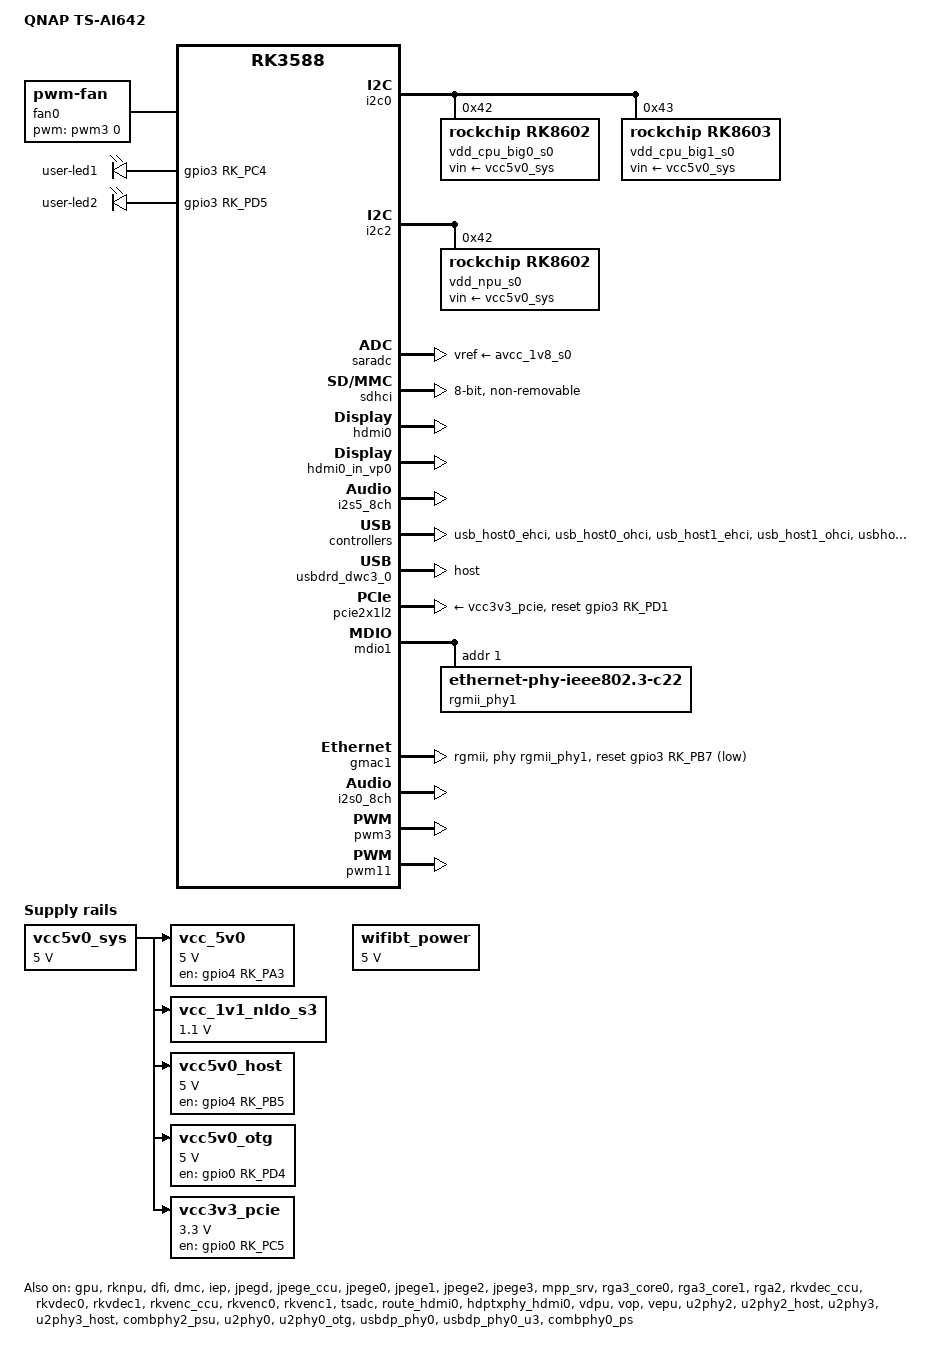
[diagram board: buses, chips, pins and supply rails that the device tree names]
// SPDX-License-Identifier: (GPL-2.0+ OR MIT)
/*
 * Copyright (c) 2022 Rockchip Electronics Co., Ltd.
 * Copyright (c) 2022 Radxa Limited
 *
 */

/dts-v1/;

#include <dt-bindings/gpio/gpio.h>
#include <dt-bindings/leds/common.h>
#include <dt-bindings/pwm/pwm.h>
#include <dt-bindings/pinctrl/rockchip.h>
#include <dt-bindings/input/rk-input.h>
#include <dt-bindings/input/rk-ir.h>
#include <dt-bindings/display/drm_mipi_dsi.h>
#include <dt-bindings/display/rockchip_vop.h>
#include <dt-bindings/sensor-dev.h>
#include "rk3588s.dtsi"
#include "rk3588-rk806-single.dtsi"
//#include "rk3588-linux.dtsi"

/ {
/*
	model = "Radxa ROCK 5C";
	compatible = "radxa,rock-5c", "rockchip,rk3588";
*/	
	model = "QNAP TS-AI642";
	compatible = "rockchip,rk3588-nvr-demo-v10", "rockchip,rk3588";
	

//	/delete-node/ chosen;	
	aliases {
		mmc0 = &sdhci;
		mmc1 = &sdmmc;
	};	
	
        fiq_debugger: fiq-debugger {
                compatible = "rockchip,fiq-debugger";
                rockchip,serial-id = <2>;
                rockchip,wake-irq = <0>;
                /* If enable uart uses irq instead of fiq */
                rockchip,irq-mode-enable = <1>;
                rockchip,baudrate = <115200>;  /* Only 115200 and 1500000 */
                interrupts = <GIC_SPI 423 IRQ_TYPE_LEVEL_LOW>;
                pinctrl-names = "default";
                pinctrl-0 = <&uart2m0_xfer>;
                status = "okay";
        };	

	fan0: pwm-fan {
		compatible = "pwm-fan";
		#cooling-cells = <2>;
		cooling-levels = <0 60 100 160 185 255 255>;
		pwms = <&pwm3 0 10000 0>;
        rockchip,temp-trips = <
                35000   1
                40000   2
                50000   3
                60000   4
                70000   5
                75000   6
        >;		
	};

	vcc5v0_sys: vcc5v0-sys {
		compatible = "regulator-fixed";
		regulator-name = "vcc5v0_sys";
		regulator-always-on;
		regulator-boot-on;
		regulator-min-microvolt = <5000000>;
		regulator-max-microvolt = <5000000>;
	};

	vcc_5v0: vcc-5v0 {
		compatible = "regulator-fixed";
		regulator-name = "vcc_5v0";
		regulator-min-microvolt = <5000000>;
		regulator-max-microvolt = <5000000>;
		regulator-boot-on;
		regulator-always-on;
		enable-active-high;
		gpio = <&gpio4 RK_PA3 GPIO_ACTIVE_HIGH>;
		pinctrl-names = "default";
		pinctrl-0 = <&vcc_5v0_en>;
		vin-supply = <&vcc5v0_sys>;
	};

	wifibt-power {
		compatible = "regulator-fixed";
		regulator-name = "wifibt_power";
		regulator-always-on;
		regulator-boot-on;
		regulator-min-microvolt = <5000000>;
		regulator-max-microvolt = <5000000>;
		pinctrl-names = "default";
		pinctrl-0 = <&wifibt_en>;
	};

	vcc_1v1_nldo_s3: vcc-1v1-nldo-s3 {
		compatible = "regulator-fixed";
		regulator-name = "vcc_1v1_nldo_s3";
		regulator-always-on;
		regulator-boot-on;
		regulator-min-microvolt = <1100000>;
		regulator-max-microvolt = <1100000>;
		vin-supply = <&vcc5v0_sys>;
	};

	hdmi0_sound: hdmi0-sound {
		status = "okay";
		compatible = "rockchip,hdmi";
		rockchip,mclk-fs = <128>;
		rockchip,card-name = "rockchip-hdmi0";
		rockchip,cpu = <&i2s5_8ch>;
		rockchip,codec = <&hdmi0>;
		rockchip,jack-det;
	};
/* qnap关闭
	es8316_sound: es8316-sound {
		status = "okay";
		compatible = "rockchip,multicodecs-card";
		rockchip,card-name = "rockchip-es8316";
		rockchip,format = "i2s";
		rockchip,mclk-fs = <256>;
		rockchip,cpu = <&i2s0_8ch >;
		rockchip,codec = <&es8316>;
		io-channels = <&saradc 3>;
		io-channel-names = "adc-detect";
		keyup-threshold-microvolt = <1800000>;
		play-pause-key {
			label = "playpause";
			linux,code = <164>;
			press-threshold-microvolt = <2000>;
		};
	};
*/
	vcc5v0_host: vcc5v0-host-regulator {
		compatible = "regulator-fixed";
		regulator-name = "vcc5v0_host";
		regulator-boot-on;
		regulator-always-on;
		regulator-min-microvolt = <5000000>;
		regulator-max-microvolt = <5000000>;
		enable-active-high;
		gpio = <&gpio4 RK_PB5 GPIO_ACTIVE_HIGH>;
		pinctrl-names = "default";
		pinctrl-0 = <&vcc5v0_host_en>;
		vin-supply = <&vcc5v0_sys>;
	};

	vcc5v0_otg: vcc5v0-otg-regulator {
		compatible = "regulator-fixed";
		regulator-name = "vcc5v0_otg";
		regulator-min-microvolt = <5000000>;
		regulator-max-microvolt = <5000000>;
		enable-active-high;
		gpio = <&gpio0 RK_PD4 GPIO_ACTIVE_HIGH>;
		pinctrl-names = "default";
		pinctrl-0 = <&vcc5v0_otg_en>;
		vin-supply = <&vcc5v0_sys>;
	};

	vcc3v3_pcie: vcc3v3-pcie {
		compatible = "regulator-fixed";
		regulator-name = "vcc3v3_pcie";
		regulator-min-microvolt = <3300000>;
		regulator-max-microvolt = <3300000>;
		startup-delay-us = <5000>;
		enable-active-high;
		gpio = <&gpio0 RK_PC5 GPIO_ACTIVE_HIGH>;
		vin-supply = <&vcc5v0_sys>;
	};

	gpio-leds {
		compatible = "gpio-leds";
		pinctrl-names = "default";

		user-led1 {
			gpios = <&gpio3 RK_PC4 GPIO_ACTIVE_HIGH>;
			linux,default-trigger = "default-on";
			default-state = "on";
		};

		user-led2 {
			gpios = <&gpio3 RK_PD5 GPIO_ACTIVE_HIGH>;
			linux,default-trigger = "heartbeat";
		};
	};
};

&i2c0 {
	status = "okay";
	pinctrl-names = "default";
	pinctrl-0 = <&i2c0m2_xfer>;

	vdd_cpu_big0_s0: vdd_cpu_big0_mem_s0: rk8602@42 {
		compatible = "rockchip,rk8602";
		reg = <0x42>;
		vin-supply = <&vcc5v0_sys>;
		regulator-compatible = "rk860x-reg";
		regulator-name = "vdd_cpu_big0_s0";
		regulator-min-microvolt = <550000>;
		regulator-max-microvolt = <1050000>;
		regulator-ramp-delay = <2300>;
		rockchip,suspend-voltage-selector = <1>;
		regulator-boot-on;
		regulator-always-on;
		regulator-state-mem {
			regulator-off-in-suspend;
		};
	};

	vdd_cpu_big1_s0: vdd_cpu_big1_mem_s0: rk8603@43 {
		compatible = "rockchip,rk8603";
		reg = <0x43>;
		vin-supply = <&vcc5v0_sys>;
		regulator-compatible = "rk860x-reg";
		regulator-name = "vdd_cpu_big1_s0";
		regulator-min-microvolt = <550000>;
		regulator-max-microvolt = <1050000>;
		regulator-ramp-delay = <2300>;
		rockchip,suspend-voltage-selector = <1>;
		regulator-boot-on;
		regulator-always-on;
		regulator-state-mem {
			regulator-off-in-suspend;
		};
	};
};

&i2c2 {
	status = "okay";
	pinctrl-names = "default";
	pinctrl-0 = <&i2c2m0_xfer>;

	vdd_npu_s0: vdd_npu_mem_s0: rk8602@42 {
		compatible = "rockchip,rk8602";
		reg = <0x42>;
		vin-supply = <&vcc5v0_sys>;
		regulator-compatible = "rk860x-reg";
		regulator-name = "vdd_npu_s0";
		regulator-min-microvolt = <550000>;
		regulator-max-microvolt = <950000>;
		regulator-ramp-delay = <2300>;
		rockchip,suspend-voltage-selector = <1>;
		regulator-boot-on;
		regulator-always-on;
		regulator-state-mem {
			regulator-off-in-suspend;
		};
	};
};

/* CPU */

&cpu_l0 {
	cpu-supply = <&vdd_cpu_lit_s0>;
	mem-supply = <&vdd_cpu_lit_mem_s0>;
};

&cpu_b0 {
	cpu-supply = <&vdd_cpu_big0_s0>;
	mem-supply = <&vdd_cpu_big0_mem_s0>;
};

&cpu_b2 {
	cpu-supply = <&vdd_cpu_big1_s0>;
	mem-supply = <&vdd_cpu_big1_mem_s0>;
};

/* GPU */

&gpu {
	mali-supply = <&vdd_gpu_s0>;
	mem-supply = <&vdd_gpu_mem_s0>;
	status = "okay";
};

/* NPU */

&rknpu {
	rknpu-supply = <&vdd_npu_s0>;
	mem-supply = <&vdd_npu_mem_s0>;
	status = "okay";
};

&dfi {
	status = "okay";
};

&dmc {
	status = "okay";
	center-supply = <&vdd_ddr_s0>;
	mem-supply = <&vdd_log_s0>;
};

&rknpu_mmu {
	status = "okay";
};

&iep {
	status = "okay";
};

&iep_mmu {
	status = "okay";
};

&jpegd {
	status = "okay";
};

&jpegd_mmu {
	status = "okay";
};

&jpege_ccu {
	status = "okay";
};

&jpege0 {
	status = "okay";
};

&jpege0_mmu {
	status = "okay";
};

&jpege1 {
	status = "okay";
};

&jpege1_mmu {
	status = "okay";
};

&jpege2 {
	status = "okay";
};

&jpege2_mmu {
	status = "okay";
};

&jpege3 {
	status = "okay";
};

&jpege3_mmu {
	status = "okay";
};

&mpp_srv {
	status = "okay";
};

&rga3_core0 {
	status = "okay";
};

&rga3_0_mmu {
	status = "okay";
};

&rga3_core1 {
	status = "okay";
};

&rga3_1_mmu {
	status = "okay";
};

&rga2 {
	status = "okay";
};

&rkvdec_ccu {
	status = "okay";
};

&rkvdec0 {
	status = "okay";
};

&rkvdec0_mmu {
	status = "okay";
};

&rkvdec1 {
	status = "okay";
};

&rkvdec1_mmu {
	status = "okay";
};

&rkvenc_ccu {
	status = "okay";
};

&rkvenc0 {
	status = "okay";
};

&rkvenc0_mmu {
	status = "okay";
};

&rkvenc1 {
	status = "okay";
};

&rkvenc1_mmu {
	status = "okay";
};

&saradc {
	status = "okay";
	vref-supply = <&avcc_1v8_s0>;
};

/* Storage */
/* eMMC */

&sdhci {
	bus-width = <8>;
	no-sdio;
	no-sd;
	non-removable;
	max-frequency = <200000000>;
	mmc-hs200-1_8v;
	mmc-hs400-1_8v;
	mmc-hs400-enhanced-strobe;
	status = "okay";
};

/* SD */

&sdmmc {
	max-frequency = <200000000>;
	no-sdio;
	no-mmc;
	bus-width = <4>;
	cap-mmc-highspeed;
	cap-sd-highspeed;
	disable-wp;
	sd-uhs-sdr104;
	vmmc-supply = <&vcc_3v3_s0>;
	vqmmc-supply = <&vccio_sd_s0>;
	pinctrl-names = "default";
	pinctrl-0 = <&sdmmc_bus4 &sdmmc_clk &sdmmc_cmd &sdmmc_det>;
	status = "disabled";
};

/* ADC */

&tsadc {
	status = "okay";
};

/* HDMI */

&hdmi0 {
	status = "okay";
	cec-enable = "true";
	pinctrl-names = "default";
	pinctrl-0 = <&hdmim0_tx0_cec &hdmim1_tx0_hpd &hdmim0_tx0_scl &hdmim0_tx0_sda>;
};

&hdmi0_in_vp0 {
	status = "okay";
};

&route_hdmi0 {
	status = "okay";
};

&hdptxphy_hdmi0 {
	status = "okay";
};

&i2s5_8ch {
	status = "okay";
};

&vdpu {
	status = "okay";
};

&vdpu_mmu {
	status = "okay";
};

/* Video Ports */

&vop {
	status = "okay";
};

&vop_mmu {
	status = "okay";
};

&vepu {
	status = "okay";
};

/* vp0 & vp1 splice for 8K output */
&vp0 {
	rockchip,plane-mask = <(1 << ROCKCHIP_VOP2_CLUSTER0 | 1 << ROCKCHIP_VOP2_ESMART0)>;
	rockchip,primary-plane = <ROCKCHIP_VOP2_ESMART0>;
};

&vp1 {
	rockchip,plane-mask = <(1 << ROCKCHIP_VOP2_CLUSTER1 | 1 << ROCKCHIP_VOP2_ESMART1)>;
	rockchip,primary-plane = <ROCKCHIP_VOP2_ESMART1>;
};

&vp2 {
	rockchip,plane-mask = <(1 << ROCKCHIP_VOP2_CLUSTER2 | 1 << ROCKCHIP_VOP2_ESMART2)>;
	rockchip,primary-plane = <ROCKCHIP_VOP2_ESMART2>;
};

&vp3 {
	rockchip,plane-mask = <(1 << ROCKCHIP_VOP2_CLUSTER3 | 1 << ROCKCHIP_VOP2_ESMART3)>;
	rockchip,primary-plane = <ROCKCHIP_VOP2_ESMART3>;
};

&display_subsystem {
	clocks = <&hdptxphy_hdmi_clk0>;
	clock-names = "hdmi0_phy_pll";
};

&hdptxphy_hdmi_clk0 {
	status = "okay";
};

/* USB */

&usb_host0_ehci {
	status = "okay";
};

&usb_host0_ohci {
	status = "okay";
};

&u2phy2 {
	status = "okay";
};

&u2phy2_host {
	status = "okay";
	phy-supply = <&vcc5v0_host>;
};

&usb_host1_ehci {
	status = "okay";
};

&usb_host1_ohci {
	status = "okay";
};

&u2phy3 {
	status = "okay";
};

&u2phy3_host {
	phy-supply = <&vcc5v0_host>;
	status = "okay";
};

&usbhost3_0 {
	status = "okay";
};

&usbhost_dwc3_0 {
	status = "okay";
};

&combphy2_psu {
	status = "okay";
};

&u2phy0 {
	status = "okay";
};

&u2phy0_otg {
	status = "okay";
	vbus-supply = <&vcc5v0_otg>;
};

&usbdrd3_0 {
	status = "okay";
};

&usbdrd_dwc3_0 {
	dr_mode = "host";
	status = "okay";
};

&usbdp_phy0 {
	status = "okay";
};

&usbdp_phy0_u3 {
	status = "okay";
};

/* PCIe */

&combphy0_ps {
	status = "okay";
};

&pcie2x1l2 {
	status = "okay";
	reset-gpios = <&gpio3 RK_PD1 GPIO_ACTIVE_HIGH>;
	vpcie3v3-supply = <&vcc3v3_pcie>;
};

/* Ethernet */

&mdio1 {
	rgmii_phy1: phy@1 {
		compatible = "ethernet-phy-ieee802.3-c22";
		reg = <0x1>;
	};
};

&gmac1 {
	status = "okay";
	phy-mode = "rgmii";
	clock_in_out = "output";

	snps,reset-gpio = <&gpio3 RK_PB7 GPIO_ACTIVE_LOW>;
	snps,reset-active-low;
	// Reset time is 20ms, 100ms for rtl8211f
	snps,reset-delays-us = <0 20000 100000>;

	pinctrl-names = "default";
	pinctrl-0 = <&gmac1_miim
		     &gmac1_tx_bus2
		     &gmac1_rx_bus2
		     &gmac1_rgmii_clk
		     &gmac1_rgmii_bus>;

	tx_delay = <0x3a>;
	rx_delay = <0x3e>;

	phy-handle = <&rgmii_phy1>;
};

/* I2C */

&i2c7 {
	status = "disabled";
/* qnap 关闭
	es8316: es8316@11 {
		compatible = "everest,es8316";
		reg = <0x11>;
		clocks = <&mclkout_i2s0>;
		clock-names = "mclk";
		assigned-clocks = <&mclkout_i2s0>;
		assigned-clock-rates = <12288000>;
		pinctrl-names = "default";
		pinctrl-0 = <&i2s0_mclk>;
		#sound-dai-cells = <0>;
		status = "okay";
	};
*/	
};

&i2s0_8ch {
	status = "okay";
	rockchip,playback-channels = <2>;
	rockchip,capture-channels = <2>;
	#sound-dai-cells = <0>;
	pinctrl-names = "default";
	pinctrl-0 = <&i2s0_lrck
			 &i2s0_sclk
			 &i2s0_sdi0
			 &i2s0_sdo0>;
};

&pwm3 {
	status = "okay";
	pinctrl-0 = <&pwm3m1_pins>;
};

&threshold {
	temperature = <60000>;
};

&soc_thermal {
	sustainable-power = <5000>; /* milliwatts */
	cooling-maps {
		map3 {
			trip = <&target>;
			cooling-device =
				<&fan0 THERMAL_NO_LIMIT THERMAL_NO_LIMIT>;
			contribution = <8192>;
		};
		map4 {
			trip = <&threshold>;
			cooling-device =
				<&fan0 THERMAL_NO_LIMIT THERMAL_NO_LIMIT>;
			contribution = <8192>;
		};
	};
};

&rockchip_suspend {
	compatible = "rockchip,pm-rk3588";
	status = "okay";
	rockchip,sleep-debug-en = <1>;
	rockchip,sleep-mode-config = <
		(0
		| RKPM_SLP_ARMOFF_DDRPD
		)
	>;
	rockchip,wakeup-config = <
		(0
		| RKPM_GPIO_WKUP_EN
		| RKPM_USB_WKUP_EN
		)
	>;
};

&avdd_0v75_s0 {
	regulator-state-mem {
		regulator-on-in-suspend;
		regulator-suspend-microvolt = <837500>;
	};
};

&avcc_1v8_s0 {
	regulator-state-mem {
		regulator-on-in-suspend;
		regulator-suspend-microvolt = <1800000>;
	};
};

&vcc_1v8_s0 {
	regulator-state-mem {
		regulator-on-in-suspend;
		regulator-suspend-microvolt = <1800000>;
	};
};

&vcc_3v3_s0 {
	regulator-state-mem {
		regulator-on-in-suspend;
		regulator-suspend-microvolt = <3300000>;
	};
};

&vdd_log_s0 {
	regulator-state-mem {
		regulator-on-in-suspend;
		regulator-suspend-microvolt = <750000>;
	};
};

&vdd_ddr_pll_s0 {
	regulator-state-mem {
		regulator-on-in-suspend;
		regulator-suspend-microvolt = <850000>;
	};
};

&pinctrl {

	power {
		vcc_5v0_en: vcc-5v0-en {
			rockchip,pins = <4 RK_PA3 RK_FUNC_GPIO &pcfg_pull_none>;
		};
	};

	usb {
		vcc5v0_host_en: vcc5v0-host-en {
			rockchip,pins = <4 RK_PB5 RK_FUNC_GPIO &pcfg_pull_none>;
		};

		vcc5v0_otg_en: vcc5v0-otg-en {
			rockchip,pins = <0 RK_PD4 RK_FUNC_GPIO &pcfg_pull_none>;
		};
	};

	wifibt {
		wifibt_en: wifibit-en {
			rockchip,pins = <0 RK_PA0 RK_FUNC_GPIO &pcfg_pull_up>;
		};

		host_wake_wl: host-wake-wl {
			rockchip,pins = <0 RK_PC6 RK_FUNC_GPIO &pcfg_output_high>;
		};

		wl_wake_host: wl-wake-host {
			rockchip,pins = <0 RK_PD3 RK_FUNC_GPIO &pcfg_pull_up>;
		};

		host_wake_bt: host-wake-bt {
			rockchip,pins = <1 RK_PA6 RK_FUNC_GPIO &pcfg_output_high>;
		};

		bt_wake_host: bt-wake-host {
			rockchip,pins = <3 RK_PC0 RK_FUNC_GPIO &pcfg_pull_up>;
		};
	};
};

&gpio0 {
	gpio-line-names =
		/* GPIO0_A0-A3 */
		"", "", "", "",
		/* GPIO0_A4-A7 */
		"", "", "", "",

		/* GPIO0_B0-B3 */
		"", "", "", "",
		/* GPIO0_B4-B7 */
		"", "PIN_8", "PIN_10", "",

		/* GPIO0_C0-C3 */
		"", "", "", "",
		/* GPIO0_C4-C7 */
		"", "", "", "PIN_27",

		/* GPIO0_D0-D3 */
		"PIN_28", "", "", "",
		/* GPIO0_D4-D7 */
		"", "", "", "";
};

&gpio1 {
	gpio-line-names =
		/* GPIO1_A0-A3 */
		"PIN_21", "PIN_19", "PIN_23", "PIN_24",
		/* GPIO1_A4-A7 */
		"PIN_26", "PIN_16", "", "",

		/* GPIO1_B0-B3 */
		"PIN_18", "PIN_31", "PIN_29", "PIN_7",
		/* GPIO1_B4-B7 */
		"PIN_33", "PIN_22", "", "",

		/* GPIO1_C0-C3 */
		"", "", "", "",
		/* GPIO1_C4-C7 */
		"", "", "", "",

		/* GPIO1_D0-D3 */
		"", "", "", "",
		/* GPIO1_D4-D7 */
		"", "", "PIN_5", "PIN_3";
};

&gpio2 {
	gpio-line-names =
		/* GPIO2_A0-A3 */
		"", "", "", "",
		/* GPIO2_A4-A7 */
		"", "", "", "",

		/* GPIO2_B0-B3 */
		"", "", "", "",
		/* GPIO2_B4-B7 */
		"", "", "", "",

		/* GPIO2_C0-C3 */
		"", "", "", "",
		/* GPIO2_C4-C7 */
		"", "", "", "",

		/* GPIO2_D0-D3 */
		"", "", "", "",
		/* GPIO2_D4-D7 */
		"", "", "", "";
};

&gpio3 {
	gpio-line-names =
		/* GPIO3_A0-A3 */
		"", "", "", "",
		/* GPIO3_A4-A7 */
		"", "", "", "",

		/* GPIO3_B0-B3 */
		"", "", "", "",
		/* GPIO3_B4-B7 */
		"", "", "", "",

		/* GPIO3_C0-C3 */
		"", "", "", "",
		/* GPIO3_C4-C7 */
		"", "", "", "",

		/* GPIO3_D0-D3 */
		"", "", "", "",
		/* GPIO3_D4-D7 */
		"", "", "", "";
};

&gpio4 {
	gpio-line-names =
		/* GPIO4_A0-A3 */
		"PIN_35", "PIN_12", "PIN_36", "",
		/* GPIO4_A4-A7 */
		"", "PIN_38", "", "",

		/* GPIO4_B0-B3 */
		"PIN_32", "PIN_40", "PIN_13", "PIN_11",
		/* GPIO4_B4-B7 */
		"PIN_15", "", "", "",

		/* GPIO4_C0-C3 */
		"", "", "", "",
		/* GPIO4_C4-C7 */
		"", "", "", "",

		/* GPIO4_D0-D3 */
		"", "", "", "",
		/* GPIO4_D4-D7 */
		"", "", "", "";
};

&uart2 {
	status = "disabled";
};

&pwm11 {
	compatible = "rockchip,remotectl-pwm";
	pinctrl-names = "default";
	pinctrl-0 = <&pwm11m1_pins>;
	remote_pwm_id = <3>;
	handle_cpu_id = <1>;
	remote_support_psci = <0>;
	status = "okay";
	//KEY_ENTER	 Linux
	//KEY_REPLY	 Android
	ir_key1 { //jp-box
		rockchip,usercode = <0xfd01>;
		rockchip,key_table =
			//<0x31   KEY_REPLY>,
			<0x31	KEY_ENTER>,
			<0x2f   KEY_BACK>,
			<0x35   KEY_UP>,
			<0x2d   KEY_DOWN>,
			<0x66   KEY_LEFT>,
			<0x3e   KEY_RIGHT>,
			<0x6a   KEY_HOME>,
			<0x5e   KEY_VOLUMEUP>,
			<0x47   KEY_VOLUMEDOWN>,
			<0x23   KEY_POWER>,
			//<0x3a   388>,
			<0x3a   KEY_M>,
			//<0x0d   KEY_O>;
			<0x0d   KEY_Q>;
	};

	/*for IPTV ltjc*/
	ir_key2 {
		rockchip,usercode = <0xc43b>;
		rockchip,key_table =
			<0x7e	KEY_ENTER>,
			<0x7f	KEY_BACK>,
			<0x7a	KEY_UP>,
			<0x78	KEY_DOWN>,
			<0x7b	KEY_LEFT>,
			<0x79	KEY_RIGHT>,
			<0x66	KEY_VOLUMEUP>,
			<0x65	KEY_VOLUMEDOWN>,
			<0x69	KEY_POWER>,
			<0x64	KEY_MUTE>,
			<0x76	KEY_1>,
			<0x75	KEY_2>,
			<0x74	KEY_3>,
			<0x73	KEY_4>,
			<0x72	KEY_5>,
			<0x71	KEY_6>,
			<0x70	KEY_7>,
			<0x6f	KEY_8>,
			<0x6e	KEY_9>,
			<0x77	KEY_0>,
			<0x7c	KEY_PAGEDOWN>,
			<0x7d	KEY_PAGEUP>,
			<0x6a	KEY_SETUP>,
			<0x68	KEY_CHANNEL_UP>,
			<0x67	KEY_CHANNEL_DN>,
			<0x39	KEY_PORTAL>,
			<0x29	KEY_HOME_PAGE>,
			<0x33	KEY_CH_CUT_BACK>,
			<0x34   KEY_LOCAL>,
			<0x2d	KEY_REVIEW>,
			<0x2c	KEY_ON_DEMAND>,
			<0x2b	KEY_INFO1>,
			<0x2e	KEY_DIRECT_SEEDING>,
			<0x2d	KEY_REVIEW>,
			<0x2c	KEY_ON_DEMAND>,
			<0x2b	KEY_INFO1>,
			<0x63	KEY_SOUND1>,
			<0x6c	KEY_X1>,
			<0x6d	KEY_X2>,
			<0x62	KEY_PLAYPAUSE>,
			<0x6b	KEY_EQUAL>,
			<0x61	KEY_FASTFORWARD>,
			<0x60	KEY_REWIND>,
			<0x3b	KEY_STOP>,
			<0x35  KEY_BLUE>,
			<0x36  KEY_YELLOW>,
			<0x37  KEY_GREEN>,
			<0x38  KEY_RED>;
	};

	ir_key3 {
		rockchip,usercode = <0x1dcc>;
		rockchip,key_table =
			<0xee	KEY_ENTER>,
			<0xf0	KEY_BACK>,
			<0xf8	KEY_UP>,
			<0xbb	KEY_DOWN>,
			<0xef	KEY_LEFT>,
			<0xed	KEY_RIGHT>,
			<0xfc	KEY_HOME>,
			<0xf1	KEY_VOLUMEUP>,
			<0xfd	KEY_VOLUMEDOWN>,
			<0xb7	KEY_SEARCH>,
			<0xff	KEY_POWER>,
			<0xf3	KEY_MUTE>,
			<0xbf	KEY_MENU>,
			<0xf9	0x191>,
			<0xf5	0x192>,
			<0xb3	388>,
			<0xbe	KEY_1>,
			<0xba	KEY_2>,
			<0xb2	KEY_3>,
			<0xbd	KEY_4>,
			<0xf9	KEY_5>,
			<0xb1	KEY_6>,
			<0xfc	KEY_7>,
			<0xf8	KEY_8>,
			<0xb0	KEY_9>,
			<0xb6	KEY_0>,
			<0xb5	KEY_BACKSPACE>;
	};

	/* for IPTV */
	ir_key4 {
		rockchip,usercode = <0x4db2>;
		rockchip,key_table =
			<0x31   KEY_ENTER>,
			<0x3a   KEY_BACK>,
			<0x35   KEY_UP>,
			<0x2d   KEY_DOWN>,
			<0x66   KEY_LEFT>,
			<0x3e   KEY_RIGHT>,
			<0x7f   KEY_VOLUMEUP>,
			<0xfe   KEY_VOLUMEDOWN>,
			<0x23   KEY_POWER>,
			<0x63   KEY_MUTE>,
			<0x6d   KEY_1>,
			<0x6c   KEY_2>,
			<0x33   KEY_3>,
			<0x71   KEY_4>,
			<0x70   KEY_5>,
			<0x37   KEY_6>,
			<0x75   KEY_7>,
			<0x74   KEY_8>,
			<0x3b   KEY_9>,
			<0x78   KEY_0>,
			<0x73   KEY_PAGEDOWN>,
			<0x22   KEY_PAGEUP>,
			<0x72   KEY_SETUP>,
			<0x7a   KEY_CHANNEL_UP>,
			<0x79   KEY_CHANNEL_DN>,
			<0x77   KEY_HOME_PAGE>,
			<0x29   KEY_CH_CUT_BACK>,
			<0x32   KEY_DIRECT_SEEDING>,
			<0x6e   KEY_REVIEW>,
			<0x7c   KEY_ON_DEMAND>,
			<0x3c   KEY_INFO1>,
			<0x67   KEY_SOUND1>,
			<0x25   KEY_X1>,
			<0x2f   KEY_X2>,
			<0x7d   KEY_LOCAL>,
			<0x6a   KEY_PLAYPAUSE>,
			<0x0b   KEY_EQUAL>;
	};

	/* for CMCC */
	ir_key5 {
		rockchip,usercode = <0x1608>;
		rockchip,key_table =
			<0x4c   KEY_ENTER>,
			<0x4d   KEY_BACK>,
			<0x4b   KEY_UP>,
			<0x4a   KEY_DOWN>,
			<0x49   KEY_LEFT>,
			<0x48   KEY_RIGHT>,
			<0x4e   KEY_HOME>,
			<0x0b   KEY_VOLUMEUP>,
			<0x0c   KEY_VOLUMEDOWN>,
			<0x23   KEY_POWER>,
			<0x45   KEY_MUTE>,
			<0x44   KEY_MENU>,
			<0x78   KEY_1>,
			<0x77   KEY_2>,
			<0x76   KEY_3>,
			<0x75   KEY_4>,
			<0x74   KEY_5>,
			<0x73   KEY_6>,
			<0x72   KEY_7>,
			<0x71   KEY_8>,
			<0x70   KEY_9>,
			<0x79   KEY_0>,
			<0x43   KEY_EQUAL>,
			<0x72   KEY_X1>,
			<0x5f   KEY_SETUP>,
			<0x25   KEY_DIRECT_SEEDING>,
			<0x24   KEY_REVIEW>,
			<0x21   KEY_ON_DEMAND>,
			<0x20   KEY_INFO1>;
	};

	/* rk new remote */
	ir_key6 {
		rockchip,usercode = <0xfe01>;
		rockchip,key_table =
			<0xec   KEY_ENTER>,
			<0xe6   KEY_BACK>,
			<0xe9   KEY_UP>,
			<0xe5   KEY_DOWN>,
			<0xae   KEY_LEFT>,
			<0xaf   KEY_RIGHT>,
			<0xee   KEY_HOME>,
			<0xe7   KEY_VOLUMEUP>,
			<0xef   KEY_VOLUMEDOWN>,
			<0xbf   KEY_POWER>,
			<0xbe   KEY_MUTE>,
			<0xb3   KEY_MENU>,
			<0xff   388>,
			<0xb1   KEY_1>,
			<0xf2   KEY_2>,
			<0xf3   KEY_3>,
			<0xb5   KEY_4>,
			<0xf6   KEY_5>,
			<0xf7   KEY_6>,
			<0xb9   KEY_7>,
			<0xfa   KEY_8>,
			<0xfb   KEY_9>,
			<0xfe   KEY_0>,
			<0xbd   KEY_EQUAL>,
			<0xbc   KEY_SETUP>,
			<0xf0   KEY_LOCAL>,
			<0x0d   KEY_DIRECT_SEEDING>,
			<0x0c   KEY_REVIEW>,
			<0x0b   KEY_ON_DEMAND>,
			<0x0a   KEY_INFO1>,
			<0x0e   KEY_CH_CUT_BACK>;
	};

	/* for IPTV gd */
	ir_key7 {
		rockchip,usercode = <0x4cb3>;
		rockchip,key_table =
			<0x31   KEY_ENTER>,
			<0x3a   KEY_BACK>,
			<0x35   KEY_UP>,
			<0x2d   KEY_DOWN>,
			<0x66   KEY_LEFT>,
			<0x3e   KEY_RIGHT>,
			<0x7f   KEY_VOLUMEUP>,
			<0x7e   KEY_VOLUMEDOWN>,
			<0x23   KEY_POWER>,
			<0x63   KEY_MUTE>,
			<0x6d   KEY_1>,
			<0x6c   KEY_2>,
			<0x33   KEY_3>,
			<0x71   KEY_4>,
			<0x70   KEY_5>,
			<0x37   KEY_6>,
			<0x75   KEY_7>,
			<0x74   KEY_8>,
			<0x3b   KEY_9>,
			<0x78   KEY_0>,
			<0x73   KEY_PAGEDOWN>,
			<0x22   KEY_PAGEUP>,
			<0x72   KEY_SETUP>,
			<0x7a   KEY_CHANNEL_UP>,
			<0x79   KEY_CHANNEL_DN>,
			<0x77   KEY_HOME_PAGE>,
			<0x29   KEY_CH_CUT_BACK>,
			<0x32   KEY_DIRECT_SEEDING>,
			<0x6e   KEY_REVIEW>,
			<0x7c   KEY_ON_DEMAND>,
			<0x3c   KEY_INFO1>,
			<0x67   KEY_SOUND1>,
			<0x25   KEY_X1>,
			<0x2f   KEY_X2>,
			<0x7d   KEY_LOCAL>,
			<0x6a   KEY_PLAYPAUSE>,
			<0x0b   KEY_EQUAL>;
	};

	/* for CMCC */
	ir_key8 {
		rockchip,usercode = <0xdd22>;
		rockchip,key_table =
			<0x31   KEY_ENTER>,
			<0x6a   KEY_BACK>,
			<0x35   KEY_UP>,
			<0x2d   KEY_DOWN>,
			<0x66   KEY_LEFT>,
			<0x3e   KEY_RIGHT>,
			<0x7f   KEY_VOLUMEUP>,
			<0x7e   KEY_VOLUMEDOWN>,
			<0x23   KEY_POWER>,
			<0x63   KEY_MUTE>,
			<0x6d   KEY_1>,
			<0x6c   KEY_2>,
			<0x33   KEY_3>,
			<0x71   KEY_4>,
			<0x70   KEY_5>,
			<0x37   KEY_6>,
			<0x75   KEY_7>,
			<0x74   KEY_8>,
			<0x3b   KEY_9>,
			<0x78   KEY_0>,
			<0x73   KEY_PAGEDOWN>,
			<0x22   KEY_PAGEUP>,
			<0x72   KEY_SETUP>,
			<0x7a   KEY_CHANNEL_UP>,
			<0x79   KEY_CHANNEL_DN>,
			<0x77   KEY_HOME_PAGE>,
			<0x2f   KEY_CH_CUT_BACK>,
			<0x32   KEY_DIRECT_SEEDING>,
			<0x6e   KEY_REVIEW>,
			<0x7c   KEY_ON_DEMAND>,
			<0x3c   KEY_INFO1>,
			<0x3a   KEY_HELP>,
			<0x67   KEY_SOUND1>,
			<0x25   KEY_X2>,
			<0x7d   KEY_MENU>,
			<0x3f   KEY_EQUAL>,
			<0x29   388>,
			<0x26   KEY_PLAYPAUSE>,
			<0x76   401>,
			<0x7b   400>,
			<0x69   66>;
	};

	/* for BJLT IPTV */
	ir_key9 {
		rockchip,usercode = <0x3bc4>;
		rockchip,key_table =
			<0x81   KEY_ENTER>,
			<0x80   KEY_BACK>,
			<0x85   KEY_UP>,
			<0x87   KEY_DOWN>,
			<0x84   KEY_LEFT>,
			<0x86   KEY_RIGHT>,
			<0x99   KEY_VOLUMEUP>,
			<0x9a   KEY_VOLUMEDOWN>,
			<0x96   KEY_POWER>,
			<0x9b   KEY_MUTE>,
			<0x89   KEY_1>,
			<0x8a   KEY_2>,
			<0x8b   KEY_3>,
			<0x8c   KEY_4>,
			<0x8d   KEY_5>,
			<0x8e   KEY_6>,
			<0x8f   KEY_7>,
			<0x90   KEY_8>,
			<0x91   KEY_9>,
			<0x88   KEY_0>,
			<0x83   KEY_PAGEDOWN>,
			<0x82   KEY_PAGEUP>,
			<0x95   KEY_SETUP>,
			<0x97   KEY_CHANNEL_UP>,
			<0x98   KEY_CHANNEL_DN>,
			<0xc6   KEY_LOCAL>,
			<0xd6   KEY_HOME_PAGE>,
			<0xd7   KEY_TRACK>,
			<0xcc   KEY_CH_CUT_BACK>,
			<0xc3   KEY_INTERX>,
			<0xd1   KEY_DIRECT_SEEDING>,
			<0xd2   KEY_REVIEW>,
			<0xd3   KEY_ON_DEMAND>,
			<0xd4   KEY_INFO1>,
			<0xc7   KEY_DIRECT_SEEDING>,
			<0xc8   KEY_REVIEW>,
			<0xc9   KEY_ON_DEMAND>,
			<0xca   KEY_INFO1>,
			<0xcd   KEY_FAVORITE>,
			<0xce   KEY_CHANNEL_POS>,
			<0xcf   KEY_HELP>,
			<0xd0   KEY_EVENT>,
			<0x9c   KEY_SOUND1>,
			<0x93   KEY_X1>,
			<0x92   KEY_X2>,
			<0xc0   KEY_END>,
			<0xc1   KEY_GO_BEGINNING>,
			<0x9d   KEY_PLAYPAUSE>,
			<0xc4   KEY_STOP>,
			<0x94   KEY_EQUAL>,
			<0x9e   KEY_YELLOW>,
			<0x9f   KEY_BLUE>,
			<0xcb   KEY_APPLICATION>,
			<0xc5   KEY_POS>;
	};

	ir_key10 {
		rockchip,usercode = <0xff00>;
		rockchip,key_table =
			<0xf9	KEY_HOME>,
			<0xbf	KEY_BACK>,
			<0xfb	KEY_MENU>,
			<0xaa	KEY_ENTER>,
			<0xb9	KEY_UP>,
			<0xe9	KEY_DOWN>,
			<0xb8	KEY_LEFT>,
			<0xea	KEY_RIGHT>,
			<0xeb	KEY_VOLUMEDOWN>,
			<0xef	KEY_VOLUMEUP>,
			<0xf7	KEY_MUTE>,
			<0xe7	KEY_POWER>,
			<0xfc	KEY_POWER>,
			<0xa9	KEY_VOLUMEDOWN>,
			<0xa8	KEY_PLAYPAUSE>,
			<0xe0	KEY_VOLUMEDOWN>,
			<0xa5	KEY_VOLUMEDOWN>,
			<0xab	183>,
			<0xb7	388>,
			<0xe8	388>,
			<0xf8	184>,
			<0xaf	185>,
			<0xed	KEY_VOLUMEDOWN>,
			<0xee	186>,
			<0xb3	KEY_VOLUMEDOWN>,
			<0xf1	KEY_VOLUMEDOWN>,
			<0xf2	KEY_VOLUMEDOWN>,
			<0xf3	KEY_SEARCH>,
			<0xb4	KEY_VOLUMEDOWN>,
			<0xa4	KEY_SETUP>,
			<0xbe	KEY_SEARCH>;
	};	
};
